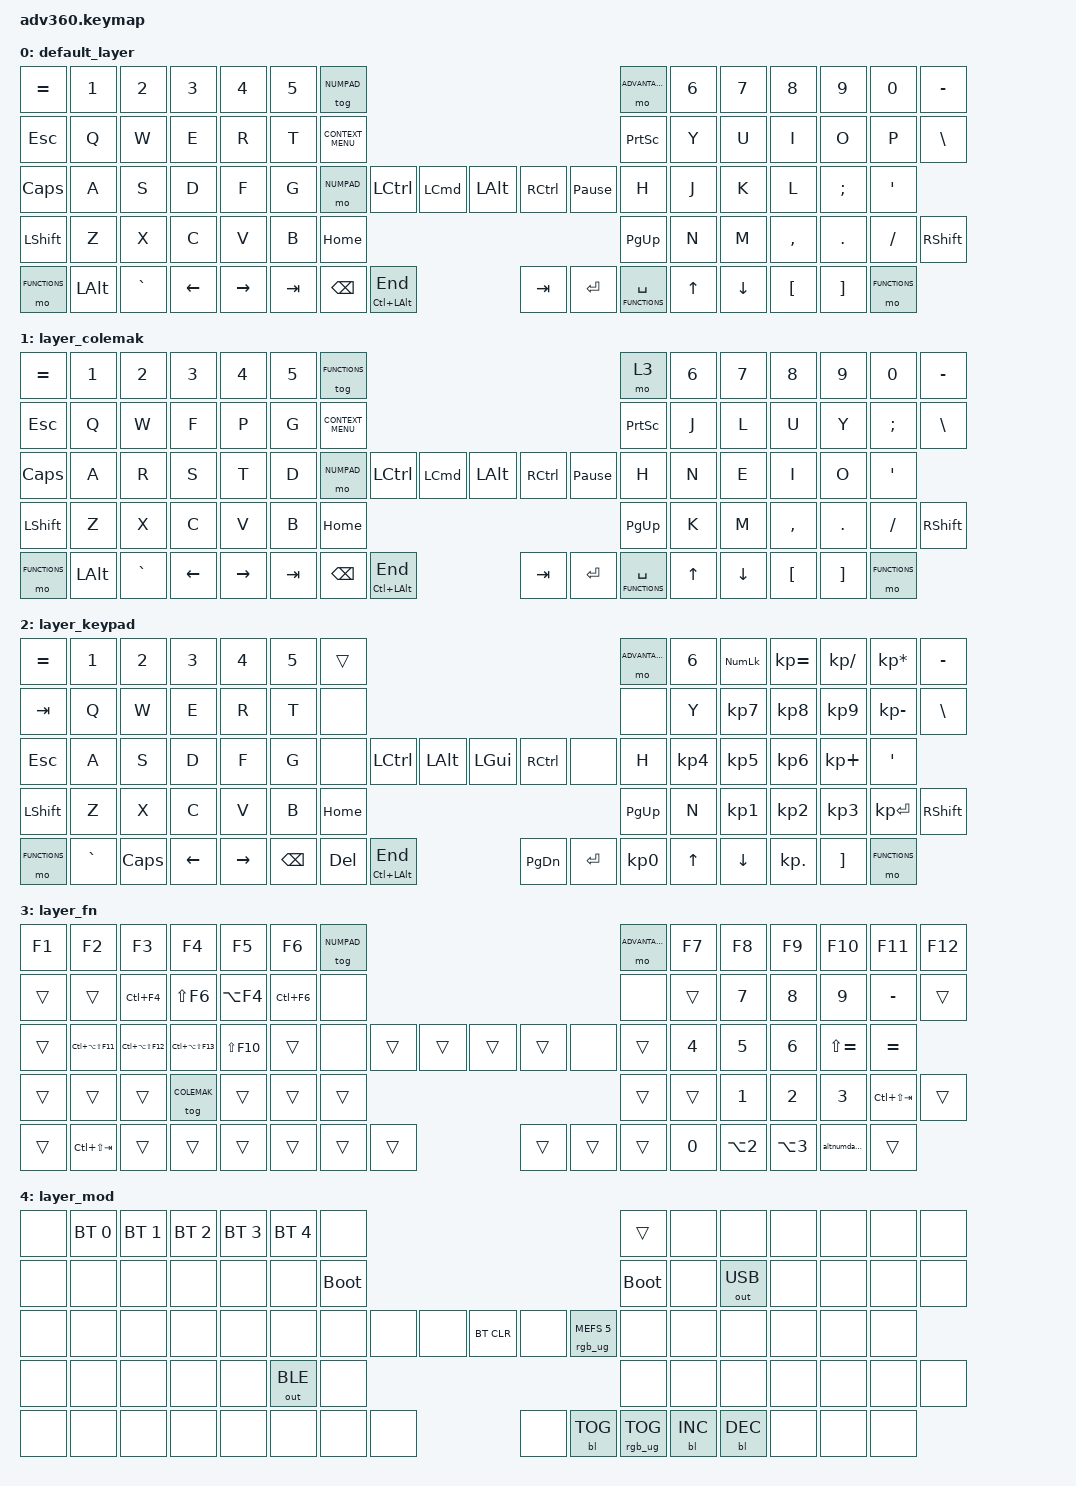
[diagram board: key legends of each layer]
#define DEFAULT 0 
#define COLEMAK 1
#define NUMPAD 2
#define FUNCTIONS 3
#define ADVANTAGEMODS 4

/*
 * Copyright (c) 2020 The ZMK Contributors
 *
 * SPDX-License-Identifier: MIT
 */


/* THIS FILE WAS GENERATED!
 *
 * This file was generated automatically. You may or may not want to
 * edit it directly.
 */

#include <behaviors.dtsi>
#include <dt-bindings/zmk/keys.h>
#include <dt-bindings/zmk/bt.h>
#include <dt-bindings/zmk/rgb.h>
#include <dt-bindings/zmk/backlight.h>
#include <dt-bindings/zmk/outputs.h>


/ {
  behaviors {
    #include "macros.dtsi"

    hm: homerow_mods {
        compatible = "zmk,behavior-hold-tap";
        label = "HOMEROW_MODS";
        #binding-cells = <2>;
        tapping-term-ms = <200>;
        quick_tap_ms = <175>;
        flavor = "tap-preferred";
        bindings = <&kp>, <&kp>;
    };
    altnumdance: alt_num_dance {
            compatible = "zmk,behavior-tap-dance";
            #binding-cells = <0>;
            tapping-term-ms = <200>;
            bindings = <&kp LA(N1)>, <&kp LA(N2)>, <&kp LA(N3)>, <&kp LA(N4)>, <&kp LA(N5)>, <&kp LA(N6)>;
        };

  };

    keymap {
        compatible = "zmk,keymap";


        default_layer {
            bindings = <
    &kp EQUAL        &kp N1     &kp N2    &kp N3     &kp N4  &kp N5                        &tog NUMPAD                                                                                      &mo ADVANTAGEMODS  &kp N6  &kp N7     &kp N8    &kp N9    &kp N0  &kp MINUS
   &kp ESCAPE         &kp Q      &kp W     &kp E      &kp R   &kp  T            &kp K_CONTEXT_MENU                                                                            &kp PRINTSCREEN   &kp Y   &kp U      &kp I     &kp O     &kp P   &kp BSLH
 &kp CAPSLOCK         &kp A      &kp S     &kp D      &kp F   &kp G                         &mo NUMPAD      &kp LCTRL  &kp LEFT_COMMAND                  &kp LEFT_ALT  &kp RCTRL  &kp PAUSE_BREAK   &kp H   &kp J      &kp K     &kp L  &kp SEMI    &kp SQT
    &kp LSHFT         &kp Z      &kp X     &kp C      &kp V   &kp B                                                       &kp HOME                     &kp PG_UP                               &kp N   &kp M  &kp COMMA   &kp DOT  &kp FSLH  &kp RSHFT
        &mo FUNCTIONS  &kp LEFT_ALT  &kp GRAVE  &kp LEFT  &kp RIGHT                               &kp TAB  &kp BACKSPACE           &mt LC(LALT) END                       &kp TAB  &kp ENTER        &lt FUNCTIONS SPACE          &kp UP   &kp DOWN  &kp LBKT  &kp RBKT      &mo FUNCTIONS
            >;
        };
        layer_colemak {
            bindings = <
    &kp EQUAL        &kp N1     &kp N2    &kp N3     &kp N4  &kp N5                        &tog FUNCTIONS                                                                                      &mo 3  &kp N6  &kp N7     &kp N8    &kp N9    &kp N0  &kp MINUS
   &kp ESCAPE         &kp Q      &kp W     &kp F      &kp P   &kp G            &kp K_CONTEXT_MENU                                                                            &kp PRINTSCREEN   &kp J   &kp L      &kp U     &kp Y     &kp SEMI   &kp BSLH
 &kp CAPSLOCK         &kp A      &kp R     &kp S      &kp T   &kp D                         &mo NUMPAD &kp LCTRL  &kp LEFT_COMMAND                  &kp LEFT_ALT  &kp RCTRL  &kp PAUSE_BREAK   &kp H   &kp N      &kp E     &kp I  &kp O    &kp SQT
    &kp LSHFT         &kp Z      &kp X     &kp C      &kp V   &kp B                                                       &kp HOME                     &kp PG_UP                               &kp K   &kp M  &kp COMMA   &kp DOT  &kp FSLH  &kp RSHFT
        &mo FUNCTIONS  &kp LEFT_ALT  &kp GRAVE  &kp LEFT  &kp RIGHT                               &kp TAB  &kp BACKSPACE           &mt LC(LALT) END                       &kp TAB  &kp ENTER        &lt FUNCTIONS SPACE          &kp UP   &kp DOWN  &kp LBKT  &kp RBKT      &mo FUNCTIONS
            >;
        };

        layer_keypad {
            bindings = <
 &kp EQUAL     &kp N1    &kp N2    &kp N3     &kp N4  &kp N5              &trans                                                                 &mo ADVANTAGEMODS  &kp N6  &kp KP_NUM  &kp KP_EQUAL  &kp KP_DIVIDE  &kp KP_MULTIPLY  &kp MINUS
   &kp TAB      &kp Q     &kp W     &kp E      &kp R   &kp T               &none                                                                 &none   &kp Y   &kp KP_N7     &kp KP_N8      &kp KP_N9     &kp KP_MINUS   &kp BSLH
   &kp ESC      &kp A     &kp S     &kp D      &kp F   &kp G               &none  &kp LCTRL  &kp LALT                   &kp LGUI  &kp RCTRL      &none   &kp H   &kp KP_N4     &kp KP_N5      &kp KP_N6      &kp KP_PLUS    &kp SQT
 &kp LSHFT      &kp Z     &kp X     &kp C      &kp V   &kp B                                 &kp HOME                  &kp PG_UP                         &kp N   &kp KP_N1     &kp KP_N2      &kp KP_N3     &kp KP_ENTER  &kp RSHFT
     &mo FUNCTIONS  &kp GRAVE  &kp CAPS  &kp LEFT  &kp RIGHT                    &kp BSPC    &kp DEL   &mt LC(LALT) END                  &kp PG_DN  &kp ENTER  &kp KP_N0              &kp UP      &kp DOWN     &kp KP_DOT         &kp RBKT      &mo FUNCTIONS
            >;
        };

        layer_fn {
            bindings = <
 &kp F1     &kp F2      &kp F3        &kp F4      &kp F5  &kp F6            &tog NUMPAD                                                   &mo ADVANTAGEMODS  &kp F7        &kp F8        &kp F9       &kp F10       &kp F11  &kp F12
 &trans &trans  &kp LC(F4)  &kp LS(F6)  &kp LA(F4)  &kp LC(F6)              &none                                                   &none  &trans        &kp N7         &kp N8        &kp N9         &kp MINUS   &trans
 &trans     &kp LC(LA(LS(F11)))        &kp LC(LA(LS(F12)))         &kp LC(LA(LS(F13)))      &kp LS(F10)  &trans             &none  &trans  &trans                  &trans  &trans   &none  &trans        &kp N4         &kp N5         &kp N6         &kp LS(EQUAL)   &kp EQUAL
 &trans     &trans      &trans        &tog COLEMAK      &trans  &trans                            &trans                  &trans                  &trans        &kp N1         &kp N2         &kp N3         &kp LC(LS(TAB))   &trans
 &trans     &kp LC(LS(TAB))      &trans        &trans      &trans                    &trans  &trans  &trans                  &trans  &trans  &trans          &kp N0   &kp LA(N2)  &kp LA(N3)  &altnumdance   &trans
            >;
        };

        layer_mod {
            bindings = <
  &none  &bt BT_SEL 0  &bt BT_SEL 1  &bt BT_SEL 2  &bt BT_SEL 3  &bt BT_SEL 4                  &none                                                                          &trans   &none       &none       &none   &none   &none   &none
  &none         &none         &none         &none         &none         &none            &bootloader                                                                     &bootloader   &none       &out OUT_USB        &none   &none   &none   &none
  &none         &none         &none         &none         &none         &none                  &none   &none   &none                  &bt BT_CLR       &none  &rgb_ug RGB_MEFS_CMD 5   &none       &none       &none   &none   &none   &none
  &none         &none         &none         &none         &none         &out OUT_BLE                                    &none                       &none                                       &none       &none       &none   &none   &none   &none
  &none         &none         &none         &none         &none                                &none   &none   &none                       &none  &bl BL_TOG         &rgb_ug RGB_TOG          &bl BL_INC  &bl BL_DEC   &none   &none   &none
            >;
        };



    };
};
